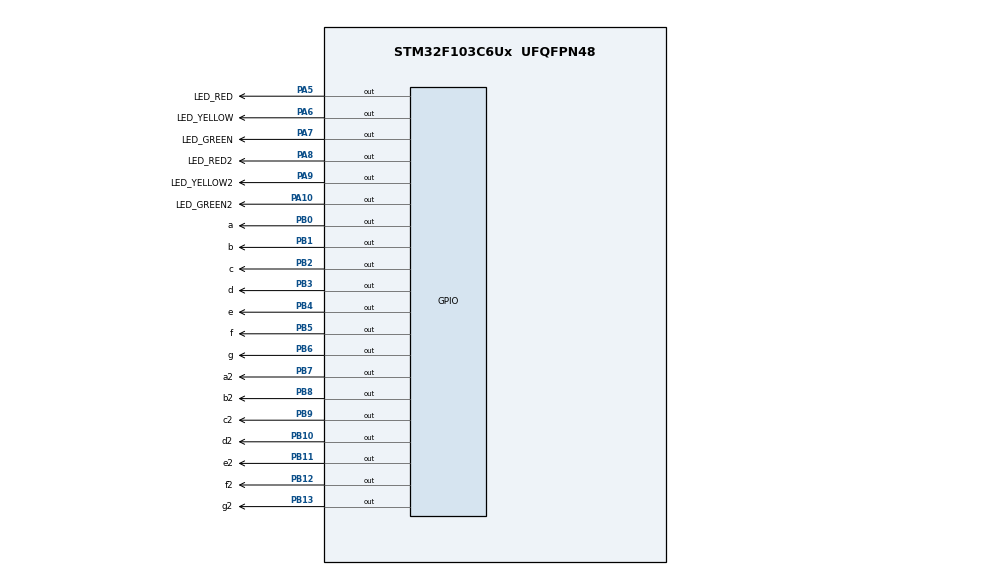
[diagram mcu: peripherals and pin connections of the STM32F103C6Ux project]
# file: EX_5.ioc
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Mcu.Family=STM32F1
Mcu.Name=STM32F103C6Ux
Mcu.Package=UFQFPN48
NVIC.PriorityGroup=NVIC_PRIORITYGROUP_4
PA10.GPIO_Label=LED_GREEN2
PA10.Signal=GPIO_Output
PA5.GPIO_Label=LED_RED
PA5.Signal=GPIO_Output
PA6.GPIO_Label=LED_YELLOW
PA6.Signal=GPIO_Output
PA7.GPIO_Label=LED_GREEN
PA7.Signal=GPIO_Output
PA8.GPIO_Label=LED_RED2
PA8.Signal=GPIO_Output
PA9.GPIO_Label=LED_YELLOW2
PA9.Signal=GPIO_Output
PB0.GPIO_Label=a
PB0.Signal=GPIO_Output
PB1.GPIO_Label=b
PB1.Signal=GPIO_Output
PB10.GPIO_Label=d2
PB10.Signal=GPIO_Output
PB11.GPIO_Label=e2
PB11.Signal=GPIO_Output
PB12.GPIO_Label=f2
PB12.Signal=GPIO_Output
PB13.GPIO_Label=g2
PB13.Signal=GPIO_Output
PB2.GPIO_Label=c
PB2.Signal=GPIO_Output
PB3.GPIO_Label=d
PB3.Signal=GPIO_Output
PB4.GPIO_Label=e
PB4.Signal=GPIO_Output
PB5.GPIO_Label=f
PB5.Signal=GPIO_Output
PB6.GPIO_Label=g
PB6.Signal=GPIO_Output
PB7.GPIO_Label=a2
PB7.Signal=GPIO_Output
PB8.GPIO_Label=b2
PB8.Signal=GPIO_Output
PB9.GPIO_Label=c2
PB9.Signal=GPIO_Output
ProjectManager.HeapSize=0x200
ProjectManager.StackSize=0x400
ProjectManager.TargetToolchain=STM32CubeIDE
RCC.APB1Freq_Value=8000000
RCC.APB2Freq_Value=8000000
VP_SYS_VS_ND.Mode=No_Debug
board=custom

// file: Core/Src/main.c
/* USER CODE BEGIN Header */
/**
  ******************************************************************************
  * @file           : main.c
  * @brief          : Main program body
  ******************************************************************************
  * @attention
  *
  * <h2><center>&copy; Copyright (c) 2024 STMicroelectronics.
  * All rights reserved.</center></h2>
  *
  * This software component is licensed by ST under BSD 3-Clause license,
  * the "License"; You may not use this file except in compliance with the
  * License. You may obtain a copy of the License at:
  *                        opensource.org/licenses/BSD-3-Clause
  *
  ******************************************************************************
  */
/* USER CODE END Header */
#include "main.h"

void SystemClock_Config(void);
static void MX_GPIO_Init(void);
void display7SEG(int num);

int main(void)
{

  /* MCU Configuration--------------------------------------------------------*/

  /* Reset of all peripherals, Initializes the Flash interface and the Systick. */
  HAL_Init();

  /* Configure the system clock */
  SystemClock_Config();

  /* Initialize all configured peripherals */
  MX_GPIO_Init();

  /* Infinite loop */
  /* USER CODE BEGIN WHILE */
  int counter = 0;
  while (1)
  {

	  if (counter >= 0 && counter < 5)
	 	 	         {
	 	 	             HAL_GPIO_WritePin(LED_RED_GPIO_Port, LED_RED_Pin, SET);
	 	 	             HAL_GPIO_WritePin(LED_YELLOW_GPIO_Port, LED_YELLOW_Pin, RESET);
	 	 	             HAL_GPIO_WritePin(LED_GREEN_GPIO_Port, LED_GREEN_Pin, RESET);
	 	 	         }
	 	 	         else if (counter >= 5 && counter < 8)
	 	 	         {
	 	 	             HAL_GPIO_WritePin(LED_RED_GPIO_Port, LED_RED_Pin, RESET);
	 	 	             HAL_GPIO_WritePin(LED_YELLOW_GPIO_Port, LED_YELLOW_Pin, RESET);
	 	 	             HAL_GPIO_WritePin(LED_GREEN_GPIO_Port, LED_GREEN_Pin, SET);
	 	 	         }
	 	 	         else if (counter >= 8 && counter < 10)
	 	 	         {
	 	 	             HAL_GPIO_WritePin(LED_RED_GPIO_Port, LED_RED_Pin, RESET);
	 	 	             HAL_GPIO_WritePin(LED_YELLOW_GPIO_Port, LED_YELLOW_Pin, SET);
	 	 	             HAL_GPIO_WritePin(LED_GREEN_GPIO_Port, LED_GREEN_Pin, RESET);
	 	 	         }

	 	 	         if (counter >= 0 && counter < 3)
	 	 	         {
	 	 	             HAL_GPIO_WritePin(LED_RED2_GPIO_Port, LED_RED2_Pin, RESET);
	 	 	             HAL_GPIO_WritePin(LED_YELLOW2_GPIO_Port, LED_YELLOW2_Pin, RESET);
	 	 	             HAL_GPIO_WritePin(LED_GREEN2_GPIO_Port, LED_GREEN2_Pin, SET);
	 	 	         }
	 	 	         else if (counter >= 3 && counter < 5)
	 	 	         {
	 	 	             HAL_GPIO_WritePin(LED_RED2_GPIO_Port, LED_RED2_Pin, RESET);
	 	 	             HAL_GPIO_WritePin(LED_YELLOW2_GPIO_Port, LED_YELLOW2_Pin, SET);
	 	 	             HAL_GPIO_WritePin(LED_GREEN2_GPIO_Port, LED_GREEN2_Pin, RESET);
	 	 	         }
	 	 	         else if (counter >= 5 && counter < 10)
	 	 	         {
	 	 	             HAL_GPIO_WritePin(LED_RED2_GPIO_Port, LED_RED2_Pin, SET);
	 	 	             HAL_GPIO_WritePin(LED_YELLOW2_GPIO_Port, LED_YELLOW2_Pin, RESET);
	 	 	             HAL_GPIO_WritePin(LED_GREEN2_GPIO_Port, LED_GREEN2_Pin, RESET);
	 	 	         }

	 	 	         display7SEG(counter);

	 	 	       counter ++;
	 	 	     if (counter >= 10) counter = 0;
	 	 	         HAL_Delay(1000);
    /* USER CODE END WHILE */

  }
}

void display7SEG(int num)
{

	if (num == 0)//4
	    {
	        HAL_GPIO_WritePin(a_GPIO_Port, a_Pin, GPIO_PIN_SET);
	        HAL_GPIO_WritePin(b_GPIO_Port, b_Pin, GPIO_PIN_RESET);
	        HAL_GPIO_WritePin(c_GPIO_Port, c_Pin, GPIO_PIN_RESET);
	        HAL_GPIO_WritePin(d_GPIO_Port, d_Pin, GPIO_PIN_SET);
	        HAL_GPIO_WritePin(e_GPIO_Port, e_Pin, GPIO_PIN_SET);
	        HAL_GPIO_WritePin(f_GPIO_Port, f_Pin, GPIO_PIN_RESET);
	        HAL_GPIO_WritePin(g_GPIO_Port, g_Pin, GPIO_PIN_RESET);

	        HAL_GPIO_WritePin(a2_GPIO_Port, a2_Pin, GPIO_PIN_RESET);
	        HAL_GPIO_WritePin(b2_GPIO_Port, b2_Pin, GPIO_PIN_RESET);
	        HAL_GPIO_WritePin(c2_GPIO_Port, c2_Pin, GPIO_PIN_SET);
	        HAL_GPIO_WritePin(d2_GPIO_Port, d2_Pin, GPIO_PIN_RESET);
	        HAL_GPIO_WritePin(e2_GPIO_Port, e2_Pin, GPIO_PIN_RESET);
	        HAL_GPIO_WritePin(f2_GPIO_Port, f2_Pin, GPIO_PIN_SET);
	        HAL_GPIO_WritePin(g2_GPIO_Port, g2_Pin, GPIO_PIN_RESET);
	    }

	    else if (num == 1)//3
	    {
	        HAL_GPIO_WritePin(a_GPIO_Port, a_Pin, GPIO_PIN_RESET);
	        HAL_GPIO_WritePin(b_GPIO_Port, b_Pin, GPIO_PIN_RESET);
	        HAL_GPIO_WritePin(c_GPIO_Port, c_Pin, GPIO_PIN_RESET);
	        HAL_GPIO_WritePin(d_GPIO_Port, d_Pin, GPIO_PIN_RESET);
	        HAL_GPIO_WritePin(e_GPIO_Port, e_Pin, GPIO_PIN_SET);
	        HAL_GPIO_WritePin(f_GPIO_Port, f_Pin, GPIO_PIN_SET);
	        HAL_GPIO_WritePin(g_GPIO_Port, g_Pin, GPIO_PIN_RESET);

	        HAL_GPIO_WritePin(a2_GPIO_Port, a2_Pin, GPIO_PIN_SET);
	        HAL_GPIO_WritePin(b2_GPIO_Port, b2_Pin, GPIO_PIN_RESET);
	        HAL_GPIO_WritePin(c2_GPIO_Port, c2_Pin, GPIO_PIN_RESET);
	        HAL_GPIO_WritePin(d2_GPIO_Port, d2_Pin, GPIO_PIN_SET);
	        HAL_GPIO_WritePin(e2_GPIO_Port, e2_Pin, GPIO_PIN_SET);
	        HAL_GPIO_WritePin(f2_GPIO_Port, f2_Pin, GPIO_PIN_SET);
	        HAL_GPIO_WritePin(g2_GPIO_Port, g2_Pin, GPIO_PIN_SET);
	    }

	    else if (num == 2)//2
	    {
	        HAL_GPIO_WritePin(a_GPIO_Port, a_Pin, GPIO_PIN_RESET);
	        HAL_GPIO_WritePin(b_GPIO_Port, b_Pin, GPIO_PIN_RESET);
	        HAL_GPIO_WritePin(c_GPIO_Port, c_Pin, GPIO_PIN_SET);
	        HAL_GPIO_WritePin(d_GPIO_Port, d_Pin, GPIO_PIN_RESET);
	        HAL_GPIO_WritePin(e_GPIO_Port, e_Pin, GPIO_PIN_RESET);
	        HAL_GPIO_WritePin(f_GPIO_Port, f_Pin, GPIO_PIN_SET);
	        HAL_GPIO_WritePin(g_GPIO_Port, g_Pin, GPIO_PIN_RESET);

	        HAL_GPIO_WritePin(a2_GPIO_Port, a2_Pin, GPIO_PIN_RESET);
	        HAL_GPIO_WritePin(b2_GPIO_Port, b2_Pin, GPIO_PIN_RESET);
	        HAL_GPIO_WritePin(c2_GPIO_Port, c2_Pin, GPIO_PIN_RESET);
	        HAL_GPIO_WritePin(d2_GPIO_Port, d2_Pin, GPIO_PIN_RESET);
	        HAL_GPIO_WritePin(e2_GPIO_Port, e2_Pin, GPIO_PIN_RESET);
	        HAL_GPIO_WritePin(f2_GPIO_Port, f2_Pin, GPIO_PIN_RESET);
	        HAL_GPIO_WritePin(g2_GPIO_Port, g2_Pin, GPIO_PIN_SET);
	    }

	    else if (num == 3)//1
	    {
	        HAL_GPIO_WritePin(a_GPIO_Port, a_Pin, GPIO_PIN_SET);
	        HAL_GPIO_WritePin(b_GPIO_Port, b_Pin, GPIO_PIN_RESET);
	        HAL_GPIO_WritePin(c_GPIO_Port, c_Pin, GPIO_PIN_RESET);
	        HAL_GPIO_WritePin(d_GPIO_Port, d_Pin, GPIO_PIN_SET);
	        HAL_GPIO_WritePin(e_GPIO_Port, e_Pin, GPIO_PIN_SET);
	        HAL_GPIO_WritePin(f_GPIO_Port, f_Pin, GPIO_PIN_SET);
	        HAL_GPIO_WritePin(g_GPIO_Port, g_Pin, GPIO_PIN_SET);

	        HAL_GPIO_WritePin(a2_GPIO_Port, a2_Pin, GPIO_PIN_SET);
	        HAL_GPIO_WritePin(b2_GPIO_Port, b2_Pin, GPIO_PIN_RESET);
	        HAL_GPIO_WritePin(c2_GPIO_Port, c2_Pin, GPIO_PIN_RESET);
	        HAL_GPIO_WritePin(d2_GPIO_Port, d2_Pin, GPIO_PIN_SET);
	        HAL_GPIO_WritePin(e2_GPIO_Port, e2_Pin, GPIO_PIN_SET);
	        HAL_GPIO_WritePin(f2_GPIO_Port, f2_Pin, GPIO_PIN_SET);
	        HAL_GPIO_WritePin(g2_GPIO_Port, g2_Pin, GPIO_PIN_SET);
	    }

	    else if (num == 4)//0
	    {
	        HAL_GPIO_WritePin(a_GPIO_Port, a_Pin, GPIO_PIN_RESET);
	        HAL_GPIO_WritePin(b_GPIO_Port, b_Pin, GPIO_PIN_RESET);
	        HAL_GPIO_WritePin(c_GPIO_Port, c_Pin, GPIO_PIN_RESET);
	        HAL_GPIO_WritePin(d_GPIO_Port, d_Pin, GPIO_PIN_RESET);
	        HAL_GPIO_WritePin(e_GPIO_Port, e_Pin, GPIO_PIN_RESET);
	        HAL_GPIO_WritePin(f_GPIO_Port, f_Pin, GPIO_PIN_RESET);
	        HAL_GPIO_WritePin(g_GPIO_Port, g_Pin, GPIO_PIN_SET);

	        HAL_GPIO_WritePin(a2_GPIO_Port, a2_Pin, GPIO_PIN_RESET);
	        HAL_GPIO_WritePin(b2_GPIO_Port, b2_Pin, GPIO_PIN_RESET);
	        HAL_GPIO_WritePin(c2_GPIO_Port, c2_Pin, GPIO_PIN_RESET);
	        HAL_GPIO_WritePin(d2_GPIO_Port, d2_Pin, GPIO_PIN_RESET);
	        HAL_GPIO_WritePin(e2_GPIO_Port, e2_Pin, GPIO_PIN_RESET);
	        HAL_GPIO_WritePin(f2_GPIO_Port, f2_Pin, GPIO_PIN_RESET);
	        HAL_GPIO_WritePin(g2_GPIO_Port, g2_Pin, GPIO_PIN_SET);
	    }

	    else if (num == 5)//2
	    {
	        HAL_GPIO_WritePin(a_GPIO_Port, a_Pin, GPIO_PIN_RESET);
	        HAL_GPIO_WritePin(b_GPIO_Port, b_Pin, GPIO_PIN_RESET);
	        HAL_GPIO_WritePin(c_GPIO_Port, c_Pin, GPIO_PIN_SET);
	        HAL_GPIO_WritePin(d_GPIO_Port, d_Pin, GPIO_PIN_RESET);
	        HAL_GPIO_WritePin(e_GPIO_Port, e_Pin, GPIO_PIN_RESET);
	        HAL_GPIO_WritePin(f_GPIO_Port, f_Pin, GPIO_PIN_SET);
	        HAL_GPIO_WritePin(g_GPIO_Port, g_Pin, GPIO_PIN_RESET);

	        HAL_GPIO_WritePin(a2_GPIO_Port, a2_Pin, GPIO_PIN_SET);
	        HAL_GPIO_WritePin(b2_GPIO_Port, b2_Pin, GPIO_PIN_RESET);
	        HAL_GPIO_WritePin(c2_GPIO_Port, c2_Pin, GPIO_PIN_RESET);
	        HAL_GPIO_WritePin(d2_GPIO_Port, d2_Pin, GPIO_PIN_SET);
	        HAL_GPIO_WritePin(e2_GPIO_Port, e2_Pin, GPIO_PIN_SET);
	        HAL_GPIO_WritePin(f2_GPIO_Port, f2_Pin, GPIO_PIN_RESET);
	        HAL_GPIO_WritePin(g2_GPIO_Port, g2_Pin, GPIO_PIN_RESET);
	    }

	    else if (num == 6)//1
	    {
	        HAL_GPIO_WritePin(a_GPIO_Port, a_Pin, GPIO_PIN_SET);
	        HAL_GPIO_WritePin(b_GPIO_Port, b_Pin, GPIO_PIN_RESET);
	        HAL_GPIO_WritePin(c_GPIO_Port, c_Pin, GPIO_PIN_RESET);
	        HAL_GPIO_WritePin(d_GPIO_Port, d_Pin, GPIO_PIN_SET);
	        HAL_GPIO_WritePin(e_GPIO_Port, e_Pin, GPIO_PIN_SET);
	        HAL_GPIO_WritePin(f_GPIO_Port, f_Pin, GPIO_PIN_SET);
	        HAL_GPIO_WritePin(g_GPIO_Port, g_Pin, GPIO_PIN_SET);

	        HAL_GPIO_WritePin(a2_GPIO_Port, a2_Pin, GPIO_PIN_RESET);
	        HAL_GPIO_WritePin(b2_GPIO_Port, b2_Pin, GPIO_PIN_RESET);
	        HAL_GPIO_WritePin(c2_GPIO_Port, c2_Pin, GPIO_PIN_RESET);
	        HAL_GPIO_WritePin(d2_GPIO_Port, d2_Pin, GPIO_PIN_RESET);
	        HAL_GPIO_WritePin(e2_GPIO_Port, e2_Pin, GPIO_PIN_SET);
	        HAL_GPIO_WritePin(f2_GPIO_Port, f2_Pin, GPIO_PIN_SET);
	        HAL_GPIO_WritePin(g2_GPIO_Port, g2_Pin, GPIO_PIN_RESET);
	    }

	    else if (num == 7)//0
	    {
	        HAL_GPIO_WritePin(a_GPIO_Port, a_Pin, GPIO_PIN_RESET);
	        HAL_GPIO_WritePin(b_GPIO_Port, b_Pin, GPIO_PIN_RESET);
	        HAL_GPIO_WritePin(c_GPIO_Port, c_Pin, GPIO_PIN_RESET);
	        HAL_GPIO_WritePin(d_GPIO_Port, d_Pin, GPIO_PIN_RESET);
	        HAL_GPIO_WritePin(e_GPIO_Port, e_Pin, GPIO_PIN_RESET);
	        HAL_GPIO_WritePin(f_GPIO_Port, f_Pin, GPIO_PIN_RESET);
	        HAL_GPIO_WritePin(g_GPIO_Port, g_Pin, GPIO_PIN_SET);

	        HAL_GPIO_WritePin(a2_GPIO_Port, a2_Pin, GPIO_PIN_RESET);
	        HAL_GPIO_WritePin(b2_GPIO_Port, b2_Pin, GPIO_PIN_RESET);
	        HAL_GPIO_WritePin(c2_GPIO_Port, c2_Pin, GPIO_PIN_SET);
	        HAL_GPIO_WritePin(d2_GPIO_Port, d2_Pin, GPIO_PIN_RESET);
	        HAL_GPIO_WritePin(e2_GPIO_Port, e2_Pin, GPIO_PIN_RESET);
	        HAL_GPIO_WritePin(f2_GPIO_Port, f2_Pin, GPIO_PIN_SET);
	        HAL_GPIO_WritePin(g2_GPIO_Port, g2_Pin, GPIO_PIN_RESET);
	    }

	    else if (num == 8)//1
	    {
	        HAL_GPIO_WritePin(a_GPIO_Port, a_Pin, GPIO_PIN_SET);
	        HAL_GPIO_WritePin(b_GPIO_Port, b_Pin, GPIO_PIN_RESET);
	        HAL_GPIO_WritePin(c_GPIO_Port, c_Pin, GPIO_PIN_RESET);
	        HAL_GPIO_WritePin(d_GPIO_Port, d_Pin, GPIO_PIN_SET);
	        HAL_GPIO_WritePin(e_GPIO_Port, e_Pin, GPIO_PIN_SET);
	        HAL_GPIO_WritePin(f_GPIO_Port, f_Pin, GPIO_PIN_SET);
	        HAL_GPIO_WritePin(g_GPIO_Port, g_Pin, GPIO_PIN_SET);

	        HAL_GPIO_WritePin(a2_GPIO_Port, a2_Pin, GPIO_PIN_SET);
	        HAL_GPIO_WritePin(b2_GPIO_Port, b2_Pin, GPIO_PIN_RESET);
	        HAL_GPIO_WritePin(c2_GPIO_Port, c2_Pin, GPIO_PIN_RESET);
	        HAL_GPIO_WritePin(d2_GPIO_Port, d2_Pin, GPIO_PIN_SET);
	        HAL_GPIO_WritePin(e2_GPIO_Port, e2_Pin, GPIO_PIN_SET);
	        HAL_GPIO_WritePin(f2_GPIO_Port, f2_Pin, GPIO_PIN_SET);
	        HAL_GPIO_WritePin(g2_GPIO_Port, g2_Pin, GPIO_PIN_SET);
	    }
	    else if (num == 9)//0
	    {
	        HAL_GPIO_WritePin(a_GPIO_Port, a_Pin, GPIO_PIN_RESET);
	        HAL_GPIO_WritePin(b_GPIO_Port, b_Pin, GPIO_PIN_RESET);
	        HAL_GPIO_WritePin(c_GPIO_Port, c_Pin, GPIO_PIN_RESET);
	        HAL_GPIO_WritePin(d_GPIO_Port, d_Pin, GPIO_PIN_RESET);
	        HAL_GPIO_WritePin(e_GPIO_Port, e_Pin, GPIO_PIN_RESET);
	        HAL_GPIO_WritePin(f_GPIO_Port, f_Pin, GPIO_PIN_RESET);
	        HAL_GPIO_WritePin(g_GPIO_Port, g_Pin, GPIO_PIN_SET);

	        HAL_GPIO_WritePin(a2_GPIO_Port, a2_Pin, GPIO_PIN_RESET);
	        HAL_GPIO_WritePin(b2_GPIO_Port, b2_Pin, GPIO_PIN_RESET);
	        HAL_GPIO_WritePin(c2_GPIO_Port, c2_Pin, GPIO_PIN_RESET);
	        HAL_GPIO_WritePin(d2_GPIO_Port, d2_Pin, GPIO_PIN_RESET);
	        HAL_GPIO_WritePin(e2_GPIO_Port, e2_Pin, GPIO_PIN_RESET);
	        HAL_GPIO_WritePin(f2_GPIO_Port, f2_Pin, GPIO_PIN_RESET);
	        HAL_GPIO_WritePin(g2_GPIO_Port, g2_Pin, GPIO_PIN_SET);
	    }

}

void SystemClock_Config(void)
{
  RCC_OscInitTypeDef RCC_OscInitStruct = {0};
  RCC_ClkInitTypeDef RCC_ClkInitStruct = {0};

  /** Initializes the RCC Oscillators according to the specified parameters
  * in the RCC_OscInitTypeDef structure.
  */
  RCC_OscInitStruct.OscillatorType = RCC_OSCILLATORTYPE_HSI;
  RCC_OscInitStruct.HSIState = RCC_HSI_ON;
  RCC_OscInitStruct.HSICalibrationValue = RCC_HSICALIBRATION_DEFAULT;
  RCC_OscInitStruct.PLL.PLLState = RCC_PLL_NONE;
  if (HAL_RCC_OscConfig(&RCC_OscInitStruct) != HAL_OK)
  {
    Error_Handler();
  }
  /** Initializes the CPU, AHB and APB buses clocks
  */
  RCC_ClkInitStruct.ClockType = RCC_CLOCKTYPE_HCLK|RCC_CLOCKTYPE_SYSCLK
                              |RCC_CLOCKTYPE_PCLK1|RCC_CLOCKTYPE_PCLK2;
  RCC_ClkInitStruct.SYSCLKSource = RCC_SYSCLKSOURCE_HSI;
  RCC_ClkInitStruct.AHBCLKDivider = RCC_SYSCLK_DIV1;
  RCC_ClkInitStruct.APB1CLKDivider = RCC_HCLK_DIV1;
  RCC_ClkInitStruct.APB2CLKDivider = RCC_HCLK_DIV1;

  if (HAL_RCC_ClockConfig(&RCC_ClkInitStruct, FLASH_LATENCY_0) != HAL_OK)
  {
    Error_Handler();
  }
}

static void MX_GPIO_Init(void)
{
  GPIO_InitTypeDef GPIO_InitStruct = {0};

  /* GPIO Ports Clock Enable */
  __HAL_RCC_GPIOA_CLK_ENABLE();
  __HAL_RCC_GPIOB_CLK_ENABLE();

  /*Configure GPIO pin Output Level */
  HAL_GPIO_WritePin(GPIOA, LED_RED_Pin|LED_YELLOW_Pin|LED_GREEN_Pin|LED_RED2_Pin
                          |LED_YELLOW2_Pin|LED_GREEN2_Pin, GPIO_PIN_RESET);

  /*Configure GPIO pin Output Level */
  HAL_GPIO_WritePin(GPIOB, a_Pin|b_Pin|c_Pin|d2_Pin
                          |e2_Pin|f2_Pin|g2_Pin|d_Pin
                          |e_Pin|f_Pin|g_Pin|a2_Pin
                          |b2_Pin|c2_Pin, GPIO_PIN_RESET);

  /*Configure GPIO pins : LED_RED_Pin LED_YELLOW_Pin LED_GREEN_Pin LED_RED2_Pin
                           LED_YELLOW2_Pin LED_GREEN2_Pin */
  GPIO_InitStruct.Pin = LED_RED_Pin|LED_YELLOW_Pin|LED_GREEN_Pin|LED_RED2_Pin
                          |LED_YELLOW2_Pin|LED_GREEN2_Pin;
  GPIO_InitStruct.Mode = GPIO_MODE_OUTPUT_PP;
  GPIO_InitStruct.Pull = GPIO_NOPULL;
  GPIO_InitStruct.Speed = GPIO_SPEED_FREQ_LOW;
  HAL_GPIO_Init(GPIOA, &GPIO_InitStruct);

  /*Configure GPIO pins : a_Pin b_Pin c_Pin d2_Pin
                           e2_Pin f2_Pin g2_Pin d_Pin
                           e_Pin f_Pin g_Pin a2_Pin
                           b2_Pin c2_Pin */
  GPIO_InitStruct.Pin = a_Pin|b_Pin|c_Pin|d2_Pin
                          |e2_Pin|f2_Pin|g2_Pin|d_Pin
                          |e_Pin|f_Pin|g_Pin|a2_Pin
                          |b2_Pin|c2_Pin;
  GPIO_InitStruct.Mode = GPIO_MODE_OUTPUT_PP;
  GPIO_InitStruct.Pull = GPIO_NOPULL;
  GPIO_InitStruct.Speed = GPIO_SPEED_FREQ_LOW;
  HAL_GPIO_Init(GPIOB, &GPIO_InitStruct);

}

void Error_Handler(void)
{
  __disable_irq();
  while (1)
  {
  }
}

/************************ (C) COPYRIGHT STMicroelectronics *****END OF FILE****/
